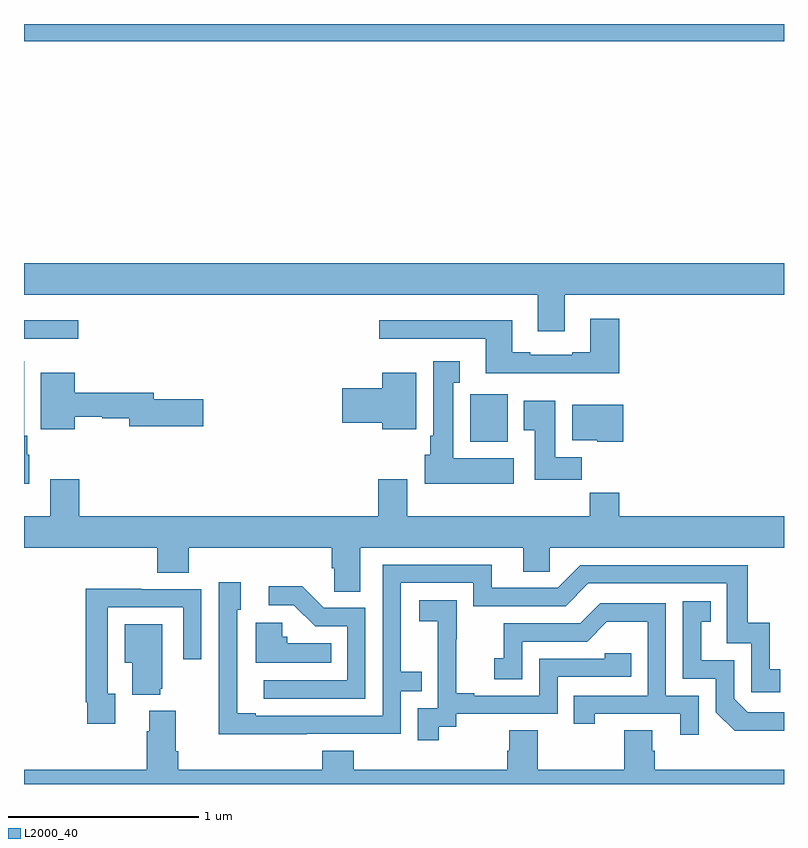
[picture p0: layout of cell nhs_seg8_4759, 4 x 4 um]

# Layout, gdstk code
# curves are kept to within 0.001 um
import gdstk
lib = gdstk.Library(unit=1e-6, precision=1e-09)
def R(c, l, rs):  # rectangles x0, y0, x1, y1
    for r in rs: c.add(gdstk.rectangle(r[:2], r[2:], *l))
def P(c, l, *ps):  # polygons
    for p in ps: c.add(gdstk.Polygon(p, *l))
L2000_40 = (2000, 40)

nhs_seg8_4759 = lib.new_cell('nhs_seg8_4759')
R(nhs_seg8_4759, L2000_40, [(401.349,1139.702,401.545,1139.952), (399,1140.243,399.286,1140.34), (399,1141.808,403,1141.9)])
P(nhs_seg8_4759, L2000_40, [(401.845,1140.476),(403,1140.476),(403,1140.64),(399,1140.64),(399,1140.476),(401.705,1140.476),(401.705,1140.282),(401.845,1140.282)],
  [(402.134,1140.349),(401.981,1140.349),(401.981,1140.172),(401.885,1140.172),(401.885,1140.159),(401.665,1140.159),(401.665,1140.172),(401.569,1140.172),(401.569,1140.34),(400.869,1140.34),(400.869,1140.243),(401.429,1140.243),(401.429,1140.062),(402.134,1140.062)],
  [(399.028,1139.634),(399.016,1139.634),(399.016,1139.734),(399.001,1139.734),(399.001,1140.124),(399,1140.124),(399,1139.48),(399.028,1139.48)],
  [(401.578,1139.614),(401.26,1139.614),(401.26,1140.011),(401.293,1140.011),(401.293,1140.124),(401.153,1140.124),(401.153,1139.734),(401.138,1139.734),(401.138,1139.634),(401.108,1139.634),(401.108,1139.48),(401.578,1139.48)],
  [(401.065,1140.064),(400.886,1140.064),(400.886,1139.984),(400.674,1139.984),(400.674,1139.801),(400.886,1139.801),(400.886,1139.768),(401.065,1139.768)],
  [(399.268,1139.832),(399.411,1139.832),(399.411,1139.824),(399.554,1139.824),(399.554,1139.782),(399.943,1139.782),(399.943,1139.924),(399.682,1139.924),(399.682,1139.96),(399.268,1139.96),(399.268,1140.064),(399.089,1140.064),(399.089,1139.768),(399.268,1139.768)],
  [(401.936,1139.62),(401.797,1139.62),(401.797,1139.917),(401.63,1139.917),(401.63,1139.761),(401.687,1139.761),(401.687,1139.502),(401.936,1139.502)],
  [(402.154,1139.896),(401.885,1139.896),(401.885,1139.708),(402.018,1139.708),(402.018,1139.702),(402.154,1139.702)],
  [(399.29,1139.503),(399.137,1139.503),(399.137,1139.308),(399,1139.308),(399,1139.144),(399.701,1139.144),(399.701,1139.011),(399.866,1139.011),(399.866,1139.144),(400.619,1139.144),(400.619,1139.035),(400.632,1139.035),(400.632,1138.912),(400.771,1138.912),(400.771,1139.144),(401.627,1139.144),(401.627,1139.017),(401.766,1139.017),(401.766,1139.144),(403,1139.144),(403,1139.308),(402.134,1139.308),(402.134,1139.432),(401.977,1139.432),(401.977,1139.308),(401.017,1139.308),(401.017,1139.503),(400.865,1139.503),(400.865,1139.308),(399.29,1139.308)],
  [(400.487,1138.164),(400.983,1138.164),(400.983,1138.389),(401.093,1138.389),(401.093,1138.49),(400.983,1138.49),(400.983,1138.959),(401.364,1138.959),(401.364,1138.836),(401.85,1138.836),(401.97,1138.956),(402.699,1138.956),(402.699,1138.641),(402.828,1138.641),(402.828,1138.383),(402.979,1138.383),(402.979,1138.503),(402.926,1138.503),(402.926,1138.75),(402.808,1138.75),(402.808,1139.052),(401.928,1139.052),(401.808,1138.932),(401.461,1138.932),(401.461,1139.055),(400.887,1139.055),(400.887,1138.26),(400.219,1138.26),(400.219,1138.273),(400.122,1138.273),(400.122,1138.818),(400.141,1138.818),(400.141,1138.963),(400.026,1138.963),(400.026,1138.469),(400.024,1138.469),(400.024,1138.163)],
  [(400.797,1138.827),(400.578,1138.827),(400.465,1138.94),(400.287,1138.94),(400.287,1138.842),(400.421,1138.842),(400.532,1138.731),(400.701,1138.731),(400.701,1138.446),(400.263,1138.446),(400.263,1138.35),(400.797,1138.35)],
  [(399.481,1138.374),(399.441,1138.374),(399.441,1138.83),(399.837,1138.83),(399.837,1138.557),(399.933,1138.557),(399.933,1138.926),(399.617,1138.926),(399.617,1138.928),(399.325,1138.928),(399.325,1138.33),(399.333,1138.33),(399.333,1138.218),(399.481,1138.218)],
  [(401.182,1138.201),(401.274,1138.201),(401.274,1138.269),(401.808,1138.269),(401.808,1138.464),(402.197,1138.464),(402.197,1138.587),(402.057,1138.587),(402.057,1138.56),(401.712,1138.56),(401.712,1138.365),(401.371,1138.365),(401.371,1138.378),(401.276,1138.378),(401.276,1138.661),(401.277,1138.661),(401.277,1138.867),(401.079,1138.867),(401.079,1138.757),(401.177,1138.757),(401.177,1138.529),(401.178,1138.529),(401.178,1138.299),(401.073,1138.299),(401.073,1138.131),(401.182,1138.131)],
  [(403,1138.278),(402.81,1138.278),(402.738,1138.35),(402.738,1138.551),(402.565,1138.551),(402.565,1138.755),(402.614,1138.755),(402.614,1138.861),(402.468,1138.861),(402.468,1138.455),(402.642,1138.455),(402.642,1138.278),(402.74,1138.181),(403,1138.181)],
  [(402.552,1138.365),(402.378,1138.365),(402.378,1138.851),(402.032,1138.851),(401.927,1138.746),(401.524,1138.746),(401.524,1138.561),(401.475,1138.561),(401.475,1138.452),(401.622,1138.452),(401.622,1138.65),(401.964,1138.65),(402.068,1138.754),(402.282,1138.754),(402.282,1138.365),(401.893,1138.365),(401.893,1138.218),(402.004,1138.218),(402.004,1138.269),(402.455,1138.269),(402.455,1138.158),(402.552,1138.158)],
  [(400.616,1138.642),(400.386,1138.642),(400.386,1138.674),(400.359,1138.674),(400.359,1138.75),(400.22,1138.75),(400.22,1138.538),(400.616,1138.538)],
  [(399.716,1138.401),(399.727,1138.401),(399.727,1138.741),(399.53,1138.741),(399.53,1138.538),(399.569,1138.538),(399.569,1138.37),(399.716,1138.37)],
  [(403,1137.976),(402.32,1137.976),(402.32,1138.074),(402.307,1138.074),(402.307,1138.184),(402.16,1138.184),(402.16,1137.976),(401.703,1137.976),(401.703,1138.184),(401.555,1138.184),(401.555,1138.074),(401.543,1138.074),(401.543,1137.976),(400.736,1137.976),(400.736,1138.075),(400.571,1138.075),(400.571,1137.976),(399.812,1137.976),(399.812,1138.072),(399.799,1138.072),(399.799,1138.285),(399.659,1138.285),(399.659,1138.178),(399.647,1138.178),(399.647,1137.976),(399,1137.976),(399,1137.9),(403,1137.9)])

lib.write_gds('nhs_seg8_4759.gds')
